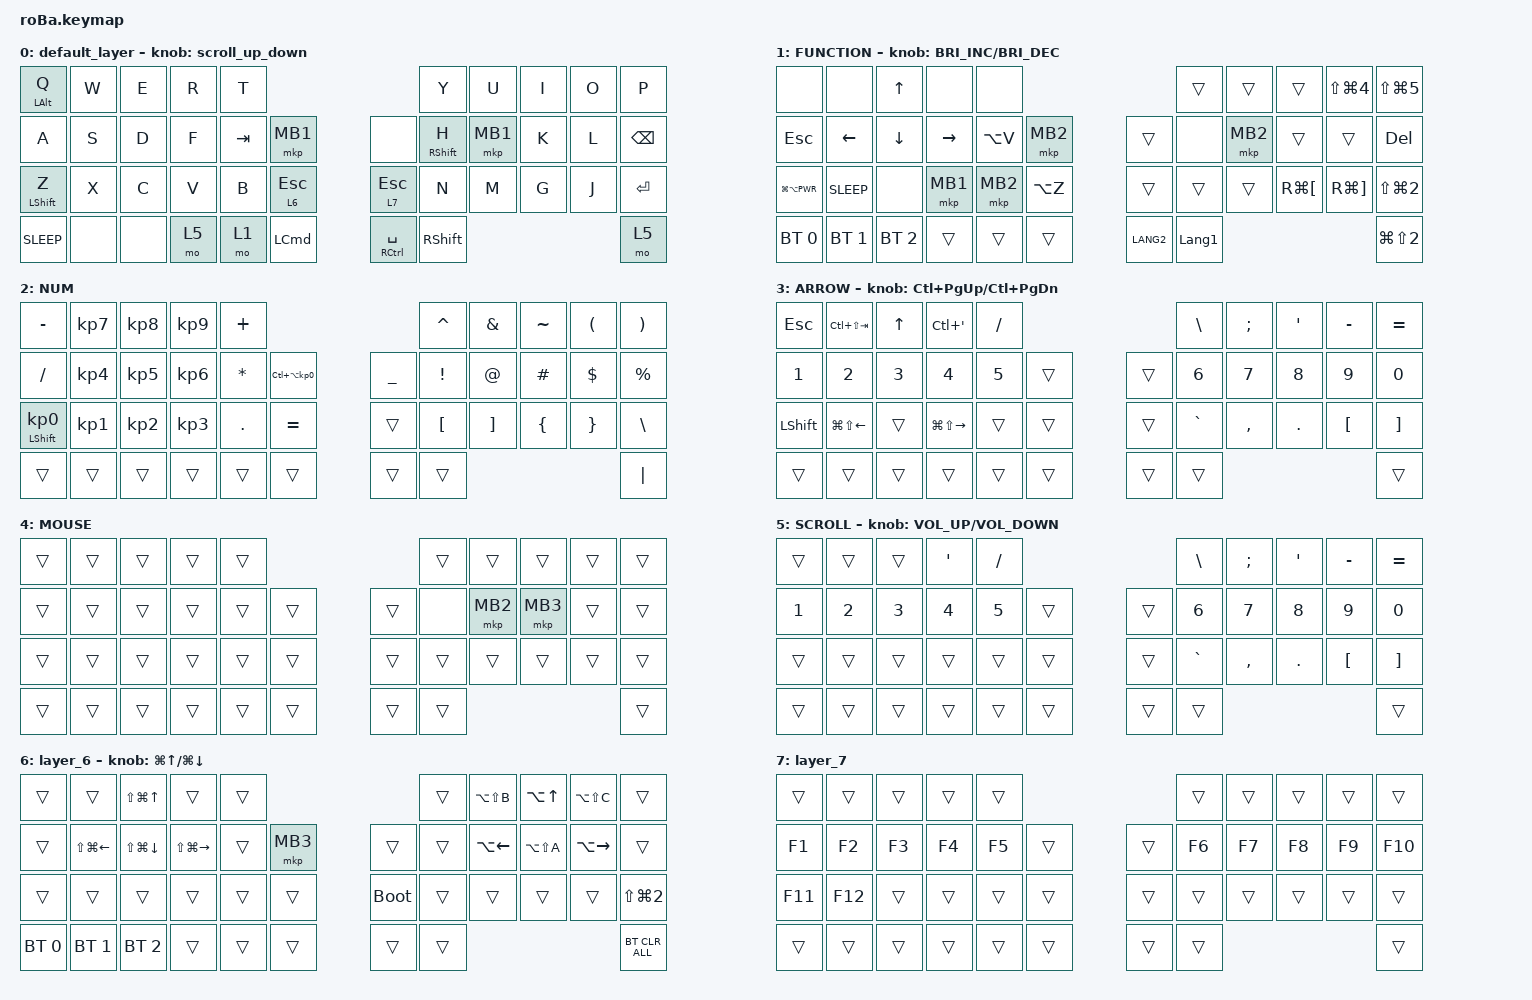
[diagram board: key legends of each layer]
#include <dt-bindings/zmk/mouse.h>
#include <behaviors.dtsi>
#include <dt-bindings/zmk/bt.h>
#include <dt-bindings/zmk/keys.h>
#include <dt-bindings/zmk/pointing.h>

#define ZMK_POINTING_DEFAULT_SCRL_VAL 100
#define MOUSE 4
#define SCROLL 5
#define NUM 6

&mt {
    flavor = "tap-preferred";
    quick-tap-ms = <0>;
    tapping-term-ms = <300>;
};

/ {
    combos {
        compatible = "zmk,combos";

        double_quotation {
            bindings = <&kp DOUBLE_QUOTES>;
            key-positions = <20 21>;
        };

        eq {
            bindings = <&kp EQUAL>;
            key-positions = <10 21>;
        };

        tab {
            bindings = <&kp TAB>;
            key-positions = <13 18>;
        };

        tab2 {
            bindings = <&kp TAB>;
            key-positions = <13 12>;
        };
    };

    macros {
        to_layer_0: to_layer_0 {
            compatible = "zmk,behavior-macro-one-param";
            #binding-cells = <1>;
            bindings = <&to 0 &macro_param_1to1 &kp MACRO_PLACEHOLDER>;
            label = "TO_LAYER_0";
        };

        to_layer_1: to_layer_1 {
            compatible = "zmk,behavior-macro-one-param";
            #binding-cells = <1>;
            bindings = <&to 1 &macro_param_1to1 &kp MACRO_PLACEHOLDER>;
            label = "TO_LAYER_1";
        };

        to_layer_5: to_layer_5 {
            compatible = "zmk,behavior-macro-one-param";
            #binding-cells = <1>;
            bindings = <&to 5 &macro_param_1to1 &kp MACRO_PLACEHOLDER>;
            label = "TO_LAYER_5";
        };

        to_layer_6: to_layer_6 {
            compatible = "zmk,behavior-macro-one-param";
            #binding-cells = <1>;
            bindings = <&to 6 &macro_param_1to1 &kp MACRO_PLACEHOLDER>;
            label = "TO_LAYER_6";
        };
    };

    behaviors {
        lt_to_layer_0: lt_to_layer_0 {
            compatible = "zmk,behavior-hold-tap";
            label = "LAYER_TAP_TO_0";
            bindings = <&mo>, <&to_layer_0>;

            #binding-cells = <2>;
            tapping-term-ms = <200>;
        };

        lt_to_layer_1: lt_to_layer_1 {
            compatible = "zmk,behavior-hold-tap";
            label = "LAYER_TAP_TO_1";
            bindings = <&mo>, <&to_layer_1>;

            #binding-cells = <2>;
            tapping-term-ms = <200>;
        };

        lt_to_layer_5: lt_to_layer_5 {
            compatible = "zmk,behavior-hold-tap";
            label = "LAYER_TAP_TO_5";
            bindings = <&mo>, <&to_layer_5>;

            #binding-cells = <2>;
            tapping-term-ms = <200>;
        };

        lt_to_layer_6: lt_to_layer_6 {
            compatible = "zmk,behavior-hold-tap";
            label = "LAYER_TAP_TO_6";
            bindings = <&mo>, <&to_layer_6>;

            #binding-cells = <2>;
            tapping-term-ms = <200>;
        };

        scroll_up_down: behavior_sensor_rotate_mouse_wheel_up_down {
            compatible = "zmk,behavior-sensor-rotate";
            #sensor-binding-cells = <0>;
            bindings = <&msc SCRL_DOWN>, <&msc SCRL_UP>;

            tap-ms = <20>;
        };

        hold_tap_shift: hold_tap_shift {
            compatible = "zmk,behavior-hold-tap";
            label = "Hold RIGHT_SHIFT, Tap Left Click";
            #binding-cells = <2>;
            tapping-term-ms = <200>;
            bindings = <&kp>, <&mkp>;
        };
    };

    keymap {
        compatible = "zmk,keymap";

        default_layer {
            bindings = <
&mt LEFT_ALT Q    &kp W  &kp E  &kp R  &kp T                                                 &kp Y              &kp U     &kp I  &kp O  &kp P
&kp A             &kp S  &kp D  &kp F  &kp TAB  &mkp MB1            &none                    &mt RIGHT_SHIFT H  &mkp MB1  &kp K  &kp L  &kp BACKSPACE
&mt LEFT_SHIFT Z  &kp X  &kp C  &kp V  &kp B    &lt 6 ESC           &lt 7 ESCAPE             &kp N              &kp M     &kp G  &kp J  &kp ENTER
&kp C_SLEEP       &none  &none  &mo 5  &mo 1    &kp LEFT_COMMAND    &mt RIGHT_CONTROL SPACE  &kp RIGHT_SHIFT                            &mo 5
            >;

            sensor-bindings = <&scroll_up_down>;
        };

        FUNCTION {
            bindings = <
&none                &none           &kp UP_ARROW    &none            &none                              &trans          &trans    &trans                &kp LS(LG(NUMBER_4))   &kp LS(LG(NUMBER_5))
&kp ESC              &kp LEFT_ARROW  &kp DOWN_ARROW  &kp RIGHT_ARROW  &kp LA(V)  &mkp MB2     &trans     &none           &mkp MB2  &trans                &trans                 &kp DELETE
&kp LG(LA(C_PWR))    &kp K_SLEEP     &none           &mkp MB1         &mkp MB2   &kp LA(Z)    &trans     &trans          &trans    &kp RG(LEFT_BRACKET)  &kp RG(RIGHT_BRACKET)  &kp LS(LG(NUMBER_2))
&bt BT_SEL 0         &bt BT_SEL 1    &bt BT_SEL 2    &trans           &trans     &trans       &kp LANG2  &kp LANGUAGE_1                                                         &kp LG(LS(NUMBER_2))
            >;

            sensor-bindings = <&inc_dec_kp C_BRIGHTNESS_INC C_BRIGHTNESS_DEC>;
        };

        NUM {
            bindings = <
&kp MINUS                   &kp KP_NUMBER_7  &kp KP_NUMBER_8  &kp KP_NUMBER_9  &kp PLUS                                                 &kp CARET         &kp AMPERSAND      &kp TILDE       &kp LEFT_PARENTHESIS  &kp RIGHT_PARENTHESIS
&kp SLASH                   &kp KP_NUMBER_4  &kp KP_NUMBER_5  &kp KP_NUMBER_6  &kp ASTERISK  &kp LC(LA(KP_NUMBER_0))    &kp UNDERSCORE  &kp EXCLAMATION   &kp AT_SIGN        &kp HASH        &kp DOLLAR            &kp PERCENT
&mt LEFT_SHIFT KP_NUMBER_0  &kp KP_NUMBER_1  &kp KP_NUMBER_2  &kp KP_NUMBER_3  &kp PERIOD    &kp EQUAL                  &trans          &kp LEFT_BRACKET  &kp RIGHT_BRACKET  &kp LEFT_BRACE  &kp RIGHT_BRACE       &kp BACKSLASH
&trans                      &trans           &trans           &trans           &trans        &trans                     &trans          &trans                                                                     &kp PIPE
            >;
        };

        ARROW {
            bindings = <
&kp ESCAPE      &kp LC(LS(TAB))         &kp UP_ARROW  &kp LC(SQT)              &kp SLASH                       &kp BACKSLASH  &kp SEMICOLON  &kp SQT       &kp MINUS         &kp EQUAL
&kp NUMBER_1    &kp NUMBER_2            &kp NUMBER_3  &kp NUMBER_4             &kp NUMBER_5  &trans    &trans  &kp NUMBER_6   &kp N7         &kp NUMBER_8  &kp NUMBER_9      &kp NUMBER_0
&kp LEFT_SHIFT  &kp LG(LS(LEFT_ARROW))  &trans        &kp LG(LS(RIGHT_ARROW))  &trans        &trans    &trans  &kp GRAVE      &kp COMMA      &kp PERIOD    &kp LEFT_BRACKET  &kp RIGHT_BRACKET
&trans          &trans                  &trans        &trans                   &trans        &trans    &trans  &trans                                                        &trans
            >;

            sensor-bindings = <&inc_dec_kp LC(PAGE_UP) LC(PAGE_DOWN)>;
        };

        MOUSE {
            bindings = <
&trans  &trans  &trans  &trans  &trans                    &trans  &trans    &trans    &trans  &trans
&trans  &trans  &trans  &trans  &trans  &trans    &trans  &none   &mkp MB2  &mkp MB3  &trans  &trans
&trans  &trans  &trans  &trans  &trans  &trans    &trans  &trans  &trans    &trans    &trans  &trans
&trans  &trans  &trans  &trans  &trans  &trans    &trans  &trans                              &trans
            >;
        };

        SCROLL {
            bindings = <
&trans        &trans        &trans        &kp SQT       &kp SLASH                       &kp BACKSLASH  &kp SEMICOLON  &kp SQT       &kp MINUS         &kp EQUAL
&kp NUMBER_1  &kp NUMBER_2  &kp NUMBER_3  &kp NUMBER_4  &kp NUMBER_5  &trans    &trans  &kp NUMBER_6   &kp NUMBER_7   &kp NUMBER_8  &kp NUMBER_9      &kp NUMBER_0
&trans        &trans        &trans        &trans        &trans        &trans    &trans  &kp GRAVE      &kp COMMA      &kp PERIOD    &kp LEFT_BRACKET  &kp RIGHT_BRACKET
&trans        &trans        &trans        &trans        &trans        &trans    &trans  &trans                                                        &trans
            >;

            sensor-bindings = <&inc_dec_kp C_VOLUME_UP C_VOLUME_DOWN>;
        };

        layer_6 {
            bindings = <
&trans        &trans                  &kp LS(LG(UP_ARROW))    &trans                   &trans                           &trans  &kp LA(LS(B))       &kp LA(UP_ARROW)  &kp LA(LS(C))        &trans
&trans        &kp LS(LG(LEFT_ARROW))  &kp LS(LG(DOWN_ARROW))  &kp LS(LG(RIGHT_ARROW))  &trans  &mkp MB3    &trans       &trans  &kp LA(LEFT_ARROW)  &kp LA(LS(A))     &kp LA(RIGHT_ARROW)  &trans
&trans        &trans                  &trans                  &trans                   &trans  &trans      &bootloader  &trans  &trans              &trans            &trans               &kp LS(LG(NUMBER_2))
&bt BT_SEL 0  &bt BT_SEL 1            &bt BT_SEL 2            &trans                   &trans  &trans      &trans       &trans                                                             &bt BT_CLR_ALL
            >;

            sensor-bindings = <&inc_dec_kp LG(UP_ARROW) LG(DOWN_ARROW)>;
        };

        layer_7 {
            bindings = <
&trans   &trans   &trans  &trans  &trans                    &trans  &trans  &trans  &trans  &trans
&kp F1   &kp F2   &kp F3  &kp F4  &kp F5  &trans    &trans  &kp F6  &kp F7  &kp F8  &kp F9  &kp F10
&kp F11  &kp F12  &trans  &trans  &trans  &trans    &trans  &trans  &trans  &trans  &trans  &trans
&trans   &trans   &trans  &trans  &trans  &trans    &trans  &trans                          &trans
            >;
        };
    };
};
